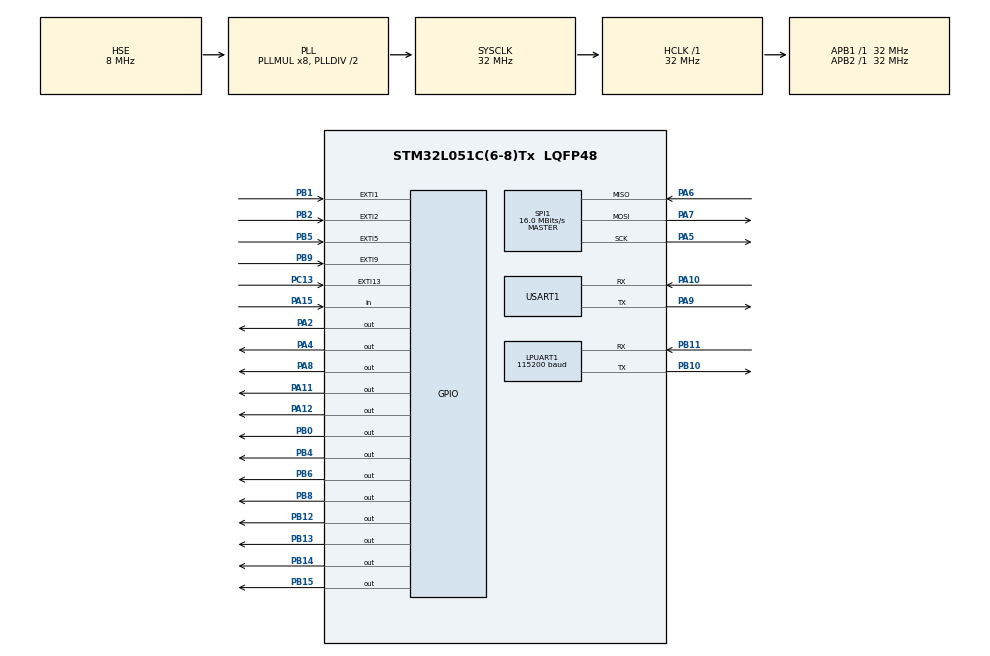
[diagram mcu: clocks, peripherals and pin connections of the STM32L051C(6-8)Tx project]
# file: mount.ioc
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Dma.LPUART1_RX.0.Direction=DMA_PERIPH_TO_MEMORY
Dma.LPUART1_RX.0.Instance=DMA1_Channel3
Dma.LPUART1_RX.0.MemDataAlignment=DMA_MDATAALIGN_BYTE
Dma.LPUART1_RX.0.MemInc=DMA_MINC_ENABLE
Dma.LPUART1_RX.0.Mode=DMA_NORMAL
Dma.LPUART1_RX.0.PeriphDataAlignment=DMA_PDATAALIGN_BYTE
Dma.LPUART1_RX.0.PeriphInc=DMA_PINC_DISABLE
Dma.LPUART1_RX.0.Priority=DMA_PRIORITY_VERY_HIGH
Dma.Request0=LPUART1_RX
FREERTOS.INCLUDE_eTaskGetState=1
FREERTOS.Mutexes01=EventLock,Dynamic,NULL;Uart1lock,Dynamic,NULL
FREERTOS.Queues01=EventQ,10,EventTypeDef,NULL,Dynamic,NULL,NULL;UartQ,16,uint8_t,NULL,Dynamic,NULL,NULL
FREERTOS.Tasks01=defaultTask,0,64,StartDefaultTask,Default,NULL,Dynamic,NULL,NULL;eventhandle,-3,128,Event_Task,Default,NULL,Dynamic,NULL,NULL;lte,2,256,Lte_task,Default,NULL,Dynamic,NULL,NULL;s2lhandle,-3,128,S2L_Task,Default,NULL,Dynamic,NULL,NULL
FREERTOS.configMINIMAL_STACK_SIZE=64
FREERTOS.configTOTAL_HEAP_SIZE=5500
FREERTOS.configUSE_ALTERNATIVE_API=0
LPUART1.BaudRate=115200
LPUART1.HwFlowCtl-Asynchronous=UART_HWCONTROL_NONE
LPUART1.WordLength=UART_WORDLENGTH_8B
Mcu.Family=STM32L0
Mcu.Name=STM32L051C(6-8)Tx
Mcu.Package=LQFP48
NVIC.DMA1_Channel2_3_IRQn=true\:3\:0\:false\:false\:true\:true
NVIC.EXTI0_1_IRQn=true\:3\:0\:false\:false\:true\:true
NVIC.EXTI2_3_IRQn=true\:3\:0\:false\:false\:true\:true
NVIC.EXTI4_15_IRQn=true\:3\:0\:false\:false\:true\:true
NVIC.RTC_IRQn=true\:3\:0\:false\:false\:true\:true
NVIC.TIM6_DAC_IRQn=true\:3\:0\:false\:false\:true\:true
NVIC.USART1_IRQn=true\:3\:0\:false\:false\:false\:true
PA10.Mode=Asynchronous
PA10.Signal=USART1_RX
PA11.Signal=GPIO_Output
PA12.Signal=GPIO_Output
PA13.Mode=Serial_Wire
PA13.Signal=SYS_SWDIO
PA14.Mode=Serial_Wire
PA14.Signal=SYS_SWCLK
PA15.Signal=GPIO_Input
PA2.Signal=GPIO_Output
PA4.Signal=GPIO_Output
PA5.Mode=Full_Duplex_Master
PA5.Signal=SPI1_SCK
PA6.Mode=Full_Duplex_Master
PA6.Signal=SPI1_MISO
PA7.Mode=Full_Duplex_Master
PA7.Signal=SPI1_MOSI
PA8.Signal=GPIO_Output
PA9.Mode=Asynchronous
PA9.Signal=USART1_TX
PB0.Signal=GPIO_Output
PB1.Signal=GPXTI1
PB10.Mode=Asynchronous
PB10.Signal=LPUART1_TX
PB11.Mode=Asynchronous
PB11.Signal=LPUART1_RX
PB12.Signal=GPIO_Output
PB13.Signal=GPIO_Output
PB14.Signal=GPIO_Output
PB15.Signal=GPIO_Output
PB2.Signal=GPXTI2
PB4.Signal=GPIO_Output
PB5.GPIO_ModeDefaultEXTI=GPIO_MODE_IT_FALLING
PB5.Signal=GPXTI5
PB6.Signal=GPIO_Output
PB8.Signal=GPIO_Output
PB9.GPIO_ModeDefaultEXTI=GPIO_MODE_IT_RISING_FALLING
PB9.Signal=GPXTI9
PC13.GPIO_ModeDefaultEXTI=GPIO_MODE_IT_RISING_FALLING
PC13.Signal=GPXTI13
PC14-OSC32_IN.Mode=LSE-External-Oscillator
PC14-OSC32_IN.Signal=RCC_OSC32_IN
PC15-OSC32_OUT.Mode=LSE-External-Oscillator
PC15-OSC32_OUT.Signal=RCC_OSC32_OUT
PH0-OSC_IN.Mode=HSE-External-Oscillator
PH0-OSC_IN.Signal=RCC_OSC_IN
PH1-OSC_OUT.Mode=HSE-External-Oscillator
PH1-OSC_OUT.Signal=RCC_OSC_OUT
ProjectManager.HeapSize=0x200
ProjectManager.StackSize=0x400
ProjectManager.TargetToolchain=EWARM
RCC.48MEnable=false
RCC.ADCEnable=false
RCC.AHBCLKDivider=RCC_SYSCLK_DIV1
RCC.AHBFreq_Value=32000000
RCC.APB1CLKDivider=RCC_HCLK_DIV1
RCC.APB1Freq_Value=32000000
RCC.APB1TimFreq_Value=32000000
RCC.APB2CLKDivider=RCC_HCLK_DIV1
RCC.APB2Freq_Value=32000000
RCC.APB2TimFreq_Value=32000000
RCC.ClockTypeHCLK=RCC_CLOCKTYPE_HCLK
RCC.ClockTypePCLK1=RCC_CLOCKTYPE_PCLK1
RCC.ClockTypePCLK2=RCC_CLOCKTYPE_PCLK2
RCC.ClockTypeSysClk=RCC_CLOCKTYPE_SYSCLK
RCC.EnableCSSLSE=false
RCC.EnableHSE=true
RCC.EnableHSELCDDevisor=false
RCC.EnableHSERTCDevisor=true
RCC.EnableLSE=true
RCC.EnableLSERTC=true
RCC.EnbaleCSS=false
RCC.HCLKFreq_Value=32000000
RCC.HSE_VALUE=8000000
RCC.HSI16State=RCC_HSI_OFF
RCC.HSI16_VALUE=16000000
RCC.HSI48State=RCC_HSI48_OFF
RCC.HSIRCDiv=1
RCC.HSI_VALUE=16000000
RCC.I2C1Enable=false
RCC.IWDGEnable=false
RCC.LCDEnable=false
RCC.LPTIMEnable=false
RCC.LPUARTEnable=true
RCC.LSEState=RCC_LSE_ON
RCC.LSIState=RCC_LSI_ON
RCC.MCOEnable=false
RCC.MSI_VALUE=2097000
RCC.PLLDIV=RCC_PLLDIV_2
RCC.PLLMUL=RCC_PLLMUL_8
RCC.PLLSource=RCC_PLLSOURCE_HSE
RCC.PLLSourceVirtual=RCC_PLLSOURCE_HSE
RCC.PLLState=RCC_PLL_ON
RCC.RCC_MCODiv=RCC_MCODIV_1
RCC.RCC_PERIPHCLK_LPUART1Var=RCC_PERIPHCLK_LPUART1
RCC.RCC_PERIPHCLK_RTCVar=RCC_PERIPHCLK_RTC
RCC.RCC_PERIPHCLK_USART1Var=RCC_PERIPHCLK_USART1
RCC.RCC_RTC_Clock_Source_FROM_HSE=RCC_RTCCLKSOURCE_HSE_DIV2
RCC.RNGEnable=false
RCC.RTCEnable=true
RCC.SYSCLKFreq_VALUE=32000000
RCC.SYSCLKSource=RCC_SYSCLKSOURCE_PLLCLK
RCC.TimPrescaler=SYSTICK_CLKSOURCE_HCLK
RCC.USART1Enable=true
RCC.USART2Enable=false
RCC.USBEnable=false
RCC.VCOOutputFreq_Value=64000000
RTC.OutPut=RTC_OUTPUT_DISABLE
RTC.OutPutPolarity=RTC_OUTPUT_POLARITY_HIGH
RTC.OutPutType=RTC_OUTPUT_TYPE_OPENDRAIN
RTC.WakeUpClock-WakeUp=RTC_WAKEUPCLOCK_CK_SPRE_16BITS
RTC.WakeUpCounter-WakeUp=30
SPI1.CRCLength=SPI_CRC_LENGTH_DATASIZE
SPI1.CRCPolynomial=7
SPI1.CalculateBaudRate=16.0 MBits/s
SPI1.Direction=SPI_DIRECTION_2LINES
SPI1.Mode=SPI_MODE_MASTER
SPI1.NSSPMode=SPI_NSS_PULSE_DISABLE
SPI1.VirtualType=VM_MASTER
TIM6.Prescaler=32000-1
TIM6.TIM_MasterOutputTrigger=TIM_TRGO_RESET
TIM6.TIM_MasterSlaveMode=TIM_MASTERSLAVEMODE_DISABLE
USART1.HwFlowCtl-Asynchronous=UART_HWCONTROL_NONE
USART1.VirtualMode-Asynchronous=VM_ASYNC
USART1.WordLength=WORDLENGTH_8B
VP_FREERTOS_VS_ENABLE.Mode=Enabled
VP_RTC_VS_RTC_Activate.Mode=RTC_Enabled
VP_RTC_VS_RTC_Calendar.Mode=RTC_Calendar
VP_RTC_VS_RTC_WakeUp_intern.Mode=WakeUp
VP_TIM6_VS_ClockSourceINT.Mode=Enable_Timer
board=mount

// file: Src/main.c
/**
  ******************************************************************************
  * File Name          : main.c
  * Description        : Main program body
  ******************************************************************************
  *
  * Copyright (c) 2017 STMicroelectronics International N.V.
  * All rights reserved.
  *
  * Redistribution and use in source and binary forms, with or without
  * modification, are permitted, provided that the following conditions are met:
  *
  * 1. Redistribution of source code must retain the above copyright notice,
  *    this list of conditions and the following disclaimer.
  * 2. Redistributions in binary form must reproduce the above copyright notice,
  *    this list of conditions and the following disclaimer in the documentation
  *    and/or other materials provided with the distribution.
  * 3. Neither the name of STMicroelectronics nor the names of other
  *    contributors to this software may be used to endorse or promote products
  *    derived from this software without specific written permission.
  * 4. This software, including modifications and/or derivative works of this
  *    software, must execute solely and exclusively on microcontroller or
  *    microprocessor devices manufactured by or for STMicroelectronics.
  * 5. Redistribution and use of this software other than as permitted under
  *    this license is void and will automatically terminate your rights under
  *    this license.
  *
  * THIS SOFTWARE IS PROVIDED BY STMICROELECTRONICS AND CONTRIBUTORS "AS IS"
  * AND ANY EXPRESS, IMPLIED OR STATUTORY WARRANTIES, INCLUDING, BUT NOT
  * LIMITED TO, THE IMPLIED WARRANTIES OF MERCHANTABILITY, FITNESS FOR A
  * PARTICULAR PURPOSE AND NON-INFRINGEMENT OF THIRD PARTY INTELLECTUAL PROPERTY
  * RIGHTS ARE DISCLAIMED TO THE FULLEST EXTENT PERMITTED BY LAW. IN NO EVENT
  * SHALL STMICROELECTRONICS OR CONTRIBUTORS BE LIABLE FOR ANY DIRECT, INDIRECT,
  * INCIDENTAL, SPECIAL, EXEMPLARY, OR CONSEQUENTIAL DAMAGES (INCLUDING, BUT NOT
  * LIMITED TO, PROCUREMENT OF SUBSTITUTE GOODS OR SERVICES; LOSS OF USE, DATA,
  * OR PROFITS; OR BUSINESS INTERRUPTION) HOWEVER CAUSED AND ON ANY THEORY OF
  * LIABILITY, WHETHER IN CONTRACT, STRICT LIABILITY, OR TORT (INCLUDING
  * NEGLIGENCE OR OTHERWISE) ARISING IN ANY WAY OUT OF THE USE OF THIS SOFTWARE,
  * EVEN IF ADVISED OF THE POSSIBILITY OF SUCH DAMAGE.
  *
  ******************************************************************************
  */
#include "main.h"
#include "stm32l0xx_hal.h"
#include "cmsis_os.h"

/* USER CODE BEGIN Includes */
#include "bsp.h"
#include <stdio.h>
#include "task.h"
#include "event.h"
#include "lis3dx.h"
#include "lte.h"
#include "s2l.h"
#include "cJSON.h"
#include "stdlib.h"
#include "fhex.h"
/* USER CODE END Includes */

UART_HandleTypeDef hlpuart1;
UART_HandleTypeDef huart1;
DMA_HandleTypeDef hdma_lpuart1_rx;

RTC_HandleTypeDef hrtc;

SPI_HandleTypeDef hspi1;

TIM_HandleTypeDef htim6;

osThreadId defaultTaskHandle;
osThreadId eventhandleHandle;
osThreadId lteHandle;
osThreadId s2lhandleHandle;
osMessageQId EventQHandle;
osMessageQId UartQHandle;
osMutexId EventLockHandle;
osMutexId Uart1lockHandle;

/* USER CODE BEGIN PV */
/* Private variables ---------------------------------------------------------*/

/* USER CODE END PV */

void SystemClock_Config(void);
void Error_Handler(void);
static void MX_GPIO_Init(void);
static void MX_DMA_Init(void);
static void MX_SPI1_Init(void);
static void MX_LPUART1_UART_Init(void);
static void MX_RTC_Init(void);
static void MX_USART1_UART_Init(void);
static void MX_TIM6_Init(void);
void StartDefaultTask(void const * argument);
void Event_Task(void const * argument);
void Lte_task(void const * argument);
void S2L_Task(void const * argument);

/* USER CODE BEGIN PFP */
/* Private function prototypes -----------------------------------------------*/

/* USER CODE END PFP */

int main(void)
{

  /* MCU Configuration----------------------------------------------------------*/

  /* Reset of all peripherals, Initializes the Flash interface and the Systick. */
  HAL_Init();

  /* Configure the system clock */
  SystemClock_Config();

  /* Initialize all configured peripherals */
  MX_GPIO_Init();
  MX_DMA_Init();
  MX_SPI1_Init();
  MX_LPUART1_UART_Init();
  MX_RTC_Init();
  MX_USART1_UART_Init();
  MX_TIM6_Init();

  /* Create the mutex(es) */
  /* definition and creation of EventLock */
  osMutexDef(EventLock);
  EventLockHandle = osMutexCreate(osMutex(EventLock));

  /* definition and creation of Uart1lock */
  osMutexDef(Uart1lock);
  Uart1lockHandle = osMutexCreate(osMutex(Uart1lock));

  /* Create the thread(s) */
  /* definition and creation of defaultTask */
  osThreadDef(defaultTask, StartDefaultTask, osPriorityNormal, 0, 64);
  defaultTaskHandle = osThreadCreate(osThread(defaultTask), NULL);

  /* definition and creation of eventhandle */
  osThreadDef(eventhandle, Event_Task, osPriorityIdle, 0, 128);
  eventhandleHandle = osThreadCreate(osThread(eventhandle), NULL);

  /* definition and creation of lte */
  osThreadDef(lte, Lte_task, osPriorityHigh, 0, 256);
  lteHandle = osThreadCreate(osThread(lte), NULL);

  /* definition and creation of s2lhandle */
  osThreadDef(s2lhandle, S2L_Task, osPriorityIdle, 0, 128);
  s2lhandleHandle = osThreadCreate(osThread(s2lhandle), NULL);

  /* Create the queue(s) */
  /* definition and creation of EventQ */
  osMessageQDef(EventQ, 10, EventTypeDef);
  EventQHandle = osMessageCreate(osMessageQ(EventQ), NULL);

  /* definition and creation of UartQ */
  osMessageQDef(UartQ, 16, uint8_t);
  UartQHandle = osMessageCreate(osMessageQ(UartQ), NULL);

  /* USER CODE BEGIN RTOS_QUEUES */
  /* add queues, ... */
#ifdef S2L_DEBUG
  S2L_LOG("bsp init\r\n");
#else
  printf("bsp init\r\n");
#endif
  BspInit();
  /* USER CODE END RTOS_QUEUES */

  /* Start scheduler */
  osKernelStart();

  /* We should never get here as control is now taken by the scheduler */

  /* Infinite loop */
  while (1)
  {

  }

}

/** System Clock Configuration
*/
void SystemClock_Config(void)
{

  RCC_OscInitTypeDef RCC_OscInitStruct;
  RCC_ClkInitTypeDef RCC_ClkInitStruct;
  RCC_PeriphCLKInitTypeDef PeriphClkInit;

    /**Configure the main internal regulator output voltage
    */
  __HAL_PWR_VOLTAGESCALING_CONFIG(PWR_REGULATOR_VOLTAGE_SCALE1);

    /**Initializes the CPU, AHB and APB busses clocks
    */
  RCC_OscInitStruct.OscillatorType = RCC_OSCILLATORTYPE_LSI|RCC_OSCILLATORTYPE_HSE;
  RCC_OscInitStruct.HSEState = RCC_HSE_ON;
  RCC_OscInitStruct.LSIState = RCC_LSI_ON;
  RCC_OscInitStruct.PLL.PLLState = RCC_PLL_ON;
  RCC_OscInitStruct.PLL.PLLSource = RCC_PLLSOURCE_HSE;
  RCC_OscInitStruct.PLL.PLLMUL = RCC_PLLMUL_8;
  RCC_OscInitStruct.PLL.PLLDIV = RCC_PLLDIV_2;
  if (HAL_RCC_OscConfig(&RCC_OscInitStruct) != HAL_OK)
  {
    Error_Handler();
  }

    /**Initializes the CPU, AHB and APB busses clocks
    */
  RCC_ClkInitStruct.ClockType = RCC_CLOCKTYPE_HCLK|RCC_CLOCKTYPE_SYSCLK
                              |RCC_CLOCKTYPE_PCLK1|RCC_CLOCKTYPE_PCLK2;
  RCC_ClkInitStruct.SYSCLKSource = RCC_SYSCLKSOURCE_PLLCLK;
  RCC_ClkInitStruct.AHBCLKDivider = RCC_SYSCLK_DIV1;
  RCC_ClkInitStruct.APB1CLKDivider = RCC_HCLK_DIV1;
  RCC_ClkInitStruct.APB2CLKDivider = RCC_HCLK_DIV1;

  if (HAL_RCC_ClockConfig(&RCC_ClkInitStruct, FLASH_LATENCY_1) != HAL_OK)
  {
    Error_Handler();
  }

  PeriphClkInit.PeriphClockSelection = RCC_PERIPHCLK_USART1|RCC_PERIPHCLK_LPUART1
                              |RCC_PERIPHCLK_RTC;
  PeriphClkInit.Usart1ClockSelection = RCC_USART1CLKSOURCE_PCLK2;
  PeriphClkInit.Lpuart1ClockSelection = RCC_LPUART1CLKSOURCE_PCLK1;
  PeriphClkInit.RTCClockSelection = RCC_RTCCLKSOURCE_LSI;
  if (HAL_RCCEx_PeriphCLKConfig(&PeriphClkInit) != HAL_OK)
  {
    Error_Handler();
  }

    /**Configure the Systick interrupt time
    */
  HAL_SYSTICK_Config(HAL_RCC_GetHCLKFreq()/1000);

    /**Configure the Systick
    */
  HAL_SYSTICK_CLKSourceConfig(SYSTICK_CLKSOURCE_HCLK);

  /* SysTick_IRQn interrupt configuration */
  HAL_NVIC_SetPriority(SysTick_IRQn, 3, 0);
}

/* LPUART1 init function */
static void MX_LPUART1_UART_Init(void)
{

  hlpuart1.Instance = LPUART1;
  hlpuart1.Init.BaudRate = 115200;
  hlpuart1.Init.WordLength = UART_WORDLENGTH_8B;
  hlpuart1.Init.StopBits = UART_STOPBITS_1;
  hlpuart1.Init.Parity = UART_PARITY_NONE;
  hlpuart1.Init.Mode = UART_MODE_TX_RX;
  hlpuart1.Init.HwFlowCtl = UART_HWCONTROL_NONE;
  hlpuart1.Init.OneBitSampling = UART_ONE_BIT_SAMPLE_DISABLE;
  hlpuart1.AdvancedInit.AdvFeatureInit = UART_ADVFEATURE_NO_INIT;
  if (HAL_UART_Init(&hlpuart1) != HAL_OK)
  {
    Error_Handler();
  }

}

/* USART1 init function */
static void MX_USART1_UART_Init(void)
{

  huart1.Instance = USART1;
  huart1.Init.BaudRate = 115200;
  huart1.Init.WordLength = UART_WORDLENGTH_8B;
  huart1.Init.StopBits = UART_STOPBITS_1;
  huart1.Init.Parity = UART_PARITY_NONE;
  huart1.Init.Mode = UART_MODE_TX_RX;
  huart1.Init.HwFlowCtl = UART_HWCONTROL_NONE;
  huart1.Init.OverSampling = UART_OVERSAMPLING_16;
  huart1.Init.OneBitSampling = UART_ONE_BIT_SAMPLE_DISABLE;
  huart1.AdvancedInit.AdvFeatureInit = UART_ADVFEATURE_NO_INIT;
  if (HAL_UART_Init(&huart1) != HAL_OK)
  {
    Error_Handler();
  }

}

/* RTC init function */
static void MX_RTC_Init(void)
{

  RTC_TimeTypeDef sTime;
  RTC_DateTypeDef sDate;

    /**Initialize RTC Only
    */
  hrtc.Instance = RTC;
  hrtc.Init.HourFormat = RTC_HOURFORMAT_24;
  hrtc.Init.AsynchPrediv = 127;
  hrtc.Init.SynchPrediv = 255;
  hrtc.Init.OutPut = RTC_OUTPUT_DISABLE;
  hrtc.Init.OutPutRemap = RTC_OUTPUT_REMAP_NONE;
  hrtc.Init.OutPutPolarity = RTC_OUTPUT_POLARITY_HIGH;
  hrtc.Init.OutPutType = RTC_OUTPUT_TYPE_OPENDRAIN;
  if (HAL_RTC_Init(&hrtc) != HAL_OK)
  {
    Error_Handler();
  }

    /**Initialize RTC and set the Time and Date
    */
  if(HAL_RTCEx_BKUPRead(&hrtc, RTC_BKP_DR0) != 0x32F2){
  sTime.Hours = 0x0;
  sTime.Minutes = 0x0;
  sTime.Seconds = 0x0;
  sTime.DayLightSaving = RTC_DAYLIGHTSAVING_NONE;
  sTime.StoreOperation = RTC_STOREOPERATION_RESET;
  if (HAL_RTC_SetTime(&hrtc, &sTime, RTC_FORMAT_BCD) != HAL_OK)
  {
    Error_Handler();
  }

  sDate.WeekDay = RTC_WEEKDAY_MONDAY;
  sDate.Month = RTC_MONTH_JANUARY;
  sDate.Date = 0x1;
  sDate.Year = 0x0;

  if (HAL_RTC_SetDate(&hrtc, &sDate, RTC_FORMAT_BCD) != HAL_OK)
  {
    Error_Handler();
  }

    HAL_RTCEx_BKUPWrite(&hrtc,RTC_BKP_DR0,0x32F2);
  }
    /**Enable the WakeUp
    */
  if (HAL_RTCEx_SetWakeUpTimer_IT(&hrtc, 30, RTC_WAKEUPCLOCK_CK_SPRE_16BITS) != HAL_OK)
  {
    Error_Handler();
  }

}

/* SPI1 init function */
static void MX_SPI1_Init(void)
{

  hspi1.Instance = SPI1;
  hspi1.Init.Mode = SPI_MODE_MASTER;
  hspi1.Init.Direction = SPI_DIRECTION_2LINES;
  hspi1.Init.DataSize = SPI_DATASIZE_8BIT;
  hspi1.Init.CLKPolarity = SPI_POLARITY_LOW;
  hspi1.Init.CLKPhase = SPI_PHASE_1EDGE;
  hspi1.Init.NSS = SPI_NSS_SOFT;
  hspi1.Init.BaudRatePrescaler = SPI_BAUDRATEPRESCALER_2;
  hspi1.Init.FirstBit = SPI_FIRSTBIT_MSB;
  hspi1.Init.TIMode = SPI_TIMODE_DISABLE;
  hspi1.Init.CRCCalculation = SPI_CRCCALCULATION_DISABLE;
  hspi1.Init.CRCPolynomial = 7;
  if (HAL_SPI_Init(&hspi1) != HAL_OK)
  {
    Error_Handler();
  }

}

/* TIM6 init function */
static void MX_TIM6_Init(void)
{

  TIM_MasterConfigTypeDef sMasterConfig;

  htim6.Instance = TIM6;
  htim6.Init.Prescaler = 32000-1;
  htim6.Init.CounterMode = TIM_COUNTERMODE_UP;
  htim6.Init.Period = 0;
  if (HAL_TIM_Base_Init(&htim6) != HAL_OK)
  {
    Error_Handler();
  }

  sMasterConfig.MasterOutputTrigger = TIM_TRGO_RESET;
  sMasterConfig.MasterSlaveMode = TIM_MASTERSLAVEMODE_DISABLE;
  if (HAL_TIMEx_MasterConfigSynchronization(&htim6, &sMasterConfig) != HAL_OK)
  {
    Error_Handler();
  }

}

static void MX_DMA_Init(void)
{
  /* DMA controller clock enable */
  __HAL_RCC_DMA1_CLK_ENABLE();

  /* DMA interrupt init */
  /* DMA1_Channel2_3_IRQn interrupt configuration */
  HAL_NVIC_SetPriority(DMA1_Channel2_3_IRQn, 3, 0);
  HAL_NVIC_EnableIRQ(DMA1_Channel2_3_IRQn);

}

/** Configure pins as
        * Analog
        * Input
        * Output
        * EVENT_OUT
        * EXTI
*/
static void MX_GPIO_Init(void)
{

  GPIO_InitTypeDef GPIO_InitStruct;

  /* GPIO Ports Clock Enable */
  __HAL_RCC_GPIOC_CLK_ENABLE();
  __HAL_RCC_GPIOH_CLK_ENABLE();
  __HAL_RCC_GPIOA_CLK_ENABLE();
  __HAL_RCC_GPIOB_CLK_ENABLE();

  /*Configure GPIO pin Output Level */
  HAL_GPIO_WritePin(GPIOA, GPIO_PIN_2|GPIO_PIN_4|GPIO_PIN_8|GPIO_PIN_11
                          |GPIO_PIN_12, GPIO_PIN_RESET);

  /*Configure GPIO pin Output Level */
  HAL_GPIO_WritePin(GPIOB, GPIO_PIN_0|GPIO_PIN_12|GPIO_PIN_13|GPIO_PIN_14
                          |GPIO_PIN_15|GPIO_PIN_4|GPIO_PIN_6|GPIO_PIN_8, GPIO_PIN_RESET);

  /*Configure GPIO pin : PC13 */
  GPIO_InitStruct.Pin = GPIO_PIN_13;
  GPIO_InitStruct.Mode = GPIO_MODE_IT_RISING_FALLING;
  GPIO_InitStruct.Pull = GPIO_NOPULL;
  HAL_GPIO_Init(GPIOC, &GPIO_InitStruct);

  /*Configure GPIO pins : PA2 PA4 PA8 PA11
                           PA12 */
  GPIO_InitStruct.Pin = GPIO_PIN_2|GPIO_PIN_4|GPIO_PIN_8|GPIO_PIN_11
                          |GPIO_PIN_12;
  GPIO_InitStruct.Mode = GPIO_MODE_OUTPUT_PP;
  GPIO_InitStruct.Pull = GPIO_NOPULL;
  GPIO_InitStruct.Speed = GPIO_SPEED_FREQ_LOW;
  HAL_GPIO_Init(GPIOA, &GPIO_InitStruct);

  /*Configure GPIO pins : PB0 PB12 PB13 PB14
                           PB15 PB4 PB6 PB8 */
  GPIO_InitStruct.Pin = GPIO_PIN_0|GPIO_PIN_12|GPIO_PIN_13|GPIO_PIN_14
                          |GPIO_PIN_15|GPIO_PIN_4|GPIO_PIN_6|GPIO_PIN_8;
  GPIO_InitStruct.Mode = GPIO_MODE_OUTPUT_PP;
  GPIO_InitStruct.Pull = GPIO_NOPULL;
  GPIO_InitStruct.Speed = GPIO_SPEED_FREQ_LOW;
  HAL_GPIO_Init(GPIOB, &GPIO_InitStruct);

  /*Configure GPIO pins : PB1 PB2 */
  GPIO_InitStruct.Pin = GPIO_PIN_1|GPIO_PIN_2;
  GPIO_InitStruct.Mode = GPIO_MODE_IT_RISING;
  GPIO_InitStruct.Pull = GPIO_NOPULL;
  HAL_GPIO_Init(GPIOB, &GPIO_InitStruct);

  /*Configure GPIO pin : PA15 */
  GPIO_InitStruct.Pin = GPIO_PIN_15;
  GPIO_InitStruct.Mode = GPIO_MODE_INPUT;
  GPIO_InitStruct.Pull = GPIO_NOPULL;
  HAL_GPIO_Init(GPIOA, &GPIO_InitStruct);

  /*Configure GPIO pin : PB5 */
  GPIO_InitStruct.Pin = GPIO_PIN_5;
  GPIO_InitStruct.Mode = GPIO_MODE_IT_FALLING;
  GPIO_InitStruct.Pull = GPIO_NOPULL;
  HAL_GPIO_Init(GPIOB, &GPIO_InitStruct);

  /*Configure GPIO pin : PB9 */
  GPIO_InitStruct.Pin = GPIO_PIN_9;
  GPIO_InitStruct.Mode = GPIO_MODE_IT_RISING_FALLING;
  GPIO_InitStruct.Pull = GPIO_NOPULL;
  HAL_GPIO_Init(GPIOB, &GPIO_InitStruct);

  /* EXTI interrupt init*/
  HAL_NVIC_SetPriority(EXTI0_1_IRQn, 3, 0);
  HAL_NVIC_EnableIRQ(EXTI0_1_IRQn);

  HAL_NVIC_SetPriority(EXTI2_3_IRQn, 3, 0);
  HAL_NVIC_EnableIRQ(EXTI2_3_IRQn);

  HAL_NVIC_SetPriority(EXTI4_15_IRQn, 3, 0);
  HAL_NVIC_EnableIRQ(EXTI4_15_IRQn);

}

/* StartDefaultTask function */
void StartDefaultTask(void const * argument)
{

  /* USER CODE BEGIN 5 */
  /* Infinite loop */
  for(;;)
  {
    osDelay(1000);
    LedTog(1);
  }
  /* USER CODE END 5 */
}

/* Event_Task function */
void Event_Task(void const * argument)
{
  /* USER CODE BEGIN Event_Task */
  EventTask();
  /* Infinite loop */
  for(;;)
  {
    osDelay(1000);
  }
  /* USER CODE END Event_Task */
}

/* Lte_task function */
void Lte_task(void const * argument)
{
  /* USER CODE BEGIN Lte_task */
  LteTask();
  /* Infinite loop */
  for(;;)
  {
    osDelay(1000);
  }
  /* USER CODE END Lte_task */
}

/* S2L_Task function */
void S2L_Task(void const * argument)
{
  /* USER CODE BEGIN S2L_Task */
  S2lTask();
  /* Infinite loop */
  for(;;)
  {
    osDelay(1000);
  }
  /* USER CODE END S2L_Task */
}

void Error_Handler(void)
{
  while(1)
  {
  }
}

/************************ (C) COPYRIGHT STMicroelectronics *****END OF FILE****/
